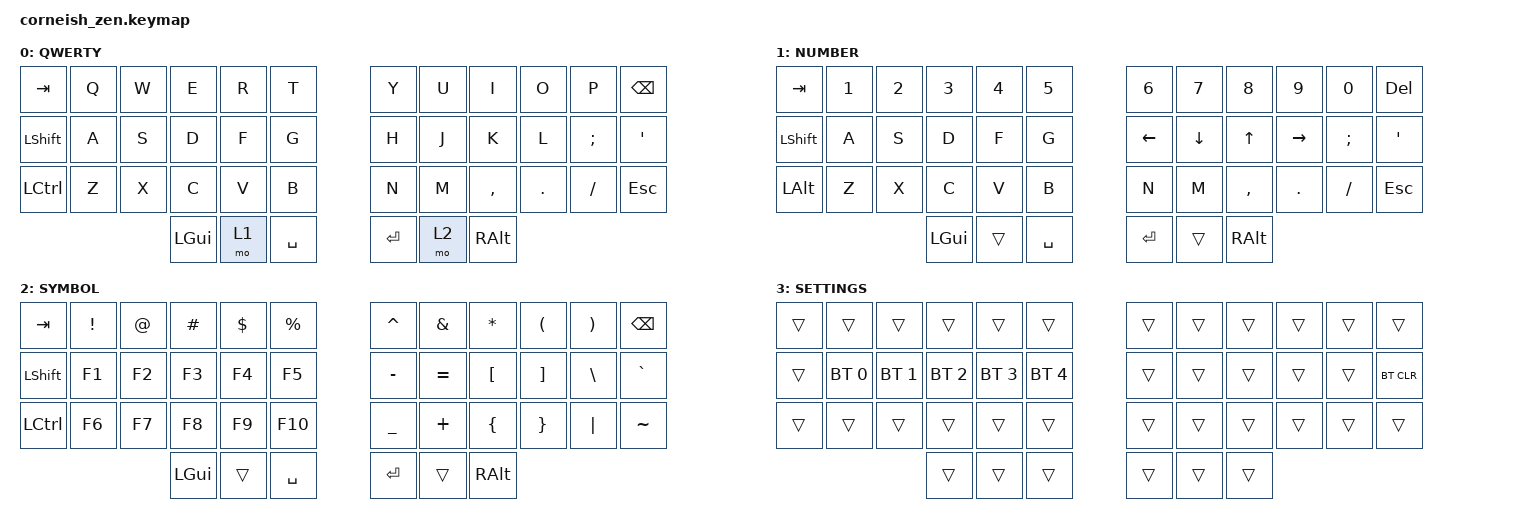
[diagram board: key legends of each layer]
#include <behaviors.dtsi>
#include <dt-bindings/zmk/keys.h>
#include <dt-bindings/zmk/bt.h>

/ {
  chosen {
    zmk,matrix_transform = &default_transform;
    //zmk,matrix_transform = &five_column_transform;
  };
};

/ {
    conditional_layers {
        compatible = "zmk,conditional-layers";
        tri_layer {
            if-layers = <1 2>;
            then-layer = <3>;
        };
    };
};

/ {
        keymap {
                compatible = "zmk,keymap";

                default_layer {
                        label = "QWERTY";
// -----------------------------------------------------------------------------------------
// |  TAB |  Q  |  W  |  E  |  R  |  T  |   |  Y  |  U   |  I  |  O  |  P  | BKSP |
// | SHFT |  A  |  S  |  D  |  F  |  G  |   |  H  |  J   |  K  |  L  |  ;  |  '   |
// | CTRL |  Z  |  X  |  C  |  V  |  B  |   |  N  |  M   |  ,  |  .  |  /  | ESC  |
//                    | GUI | LWR | SPC |   | ENT | RSE  | ALT |
                        bindings = <
   &kp TAB   &kp Q &kp W &kp E &kp R &kp T   &kp Y &kp U  &kp I     &kp O   &kp P    &kp BSPC
   &kp LSHFT &kp A &kp S &kp D &kp F &kp G   &kp H &kp J  &kp K     &kp L   &kp SEMI &kp SQT
   &kp LCTRL &kp Z &kp X &kp C &kp V &kp B   &kp N &kp M  &kp COMMA &kp DOT &kp FSLH &kp ESC
                  &kp LGUI &mo 1 &kp SPACE   &kp RET &mo 2 &kp RALT
                        >;
                };
                lower_layer {
                        label = "NUMBER";
// -----------------------------------------------------------------------------------------
// |  TAB |  1  |  2  |  3  |  4  |  5  |   |  6  |  7  |  8  |  9  |  0  | DEL  |
// | SHFT |  A  |  S  |  D  |  F  |  G  |   | LFT | DWN |  UP | RGT |  ;  |  '   |
// | LALT |  Z  |  X  |  C  |  V  |  B  |   |  N  |  M  |  ,  |  .  |  /  | ESC  |
//                    | GUI |     | SPC |   | ENT |     | ALT |
                        bindings = <
   &kp TAB    &kp N1       &kp N2       &kp N3       &kp N4       &kp N5         &kp N6   &kp N7   &kp N8    &kp N9    &kp N0   &kp DEL
   &kp LSHFT  &kp A        &kp S        &kp D        &kp F        &kp G          &kp LEFT &kp DOWN &kp UP    &kp RIGHT &kp SEMI &kp SQT
   &kp LALT   &kp Z        &kp X        &kp C        &kp V        &kp B          &kp N    &kp M    &kp COMMA &kp DOT   &kp FSLH &kp ESC
                          	            &kp LGUI     &trans       &kp SPACE      &kp RET  &trans   &kp RALT
                        >;
                };

                raise_layer {
                        label = "SYMBOL";
// -----------------------------------------------------------------------------------------
// |  TAB |  !  |  @  |  #  |  $  |  %  |   |  ^  |  &  |  *  |  (  |  )  | BKSP |
// | SHFT |  F1 |  F2 |  F3 |  F4 |  F5 |   |  -  |  =  |  [  |  ]  |  \  |  `   |
// | CTRL |  F6 |  F7 |  F8 |  F9 |  F10|   |  _  |  +  |  {  |  }  | "|" |  ~   |
//                    | GUI |     | SPC |   | ENT |     | ALT |
                        bindings = <
   &kp  TAB  &kp EXCL &kp AT &kp HASH &kp DLLR &kp PRCNT   &kp CARET &kp AMPS  &kp ASTRK  &kp LPAR &kp RPAR &kp BSPC
   &kp LSHFT &kp F1   &kp F2 &kp F3   &kp F4   &kp F5      &kp MINUS &kp EQUAL &kp LBKT   &kp RBKT &kp BSLH &kp GRAVE
   &kp LCTRL &kp F6   &kp F7 &kp F8   &kp F9   &kp F10     &kp UNDER &kp PLUS  &kp LBRC   &kp RBRC &kp PIPE &kp TILDE
                    	     &kp LGUI   &trans   &kp SPACE   &kp RET   &trans    &kp RALT
                        >;
                };

                settings_layer {
                        label = "SETTINGS";
// -----------------------------------------------------------------------------------------
// |      |     |     |     |     |     |   |     |     |     |     |     |      |
// |      | BT1 | BT2 | BT3 | BT4 | BT5 |   |     |     |     |     |     | BTCLR|
// |      |     |     |     |     |     |   |     |     |     |     |     |      |
//                    |     |     |     |   |     |     |     |
                        bindings = <
   &trans     &trans       &trans       &trans       &trans       &trans         &trans   &trans   &trans &trans    &trans &trans
   &trans     &bt BT_SEL 0 &bt BT_SEL 1 &bt BT_SEL 2 &bt BT_SEL 3 &bt BT_SEL 4   &trans   &trans   &trans &trans    &trans &bt BT_CLR
   &trans     &trans       &trans       &trans       &trans       &trans         &trans   &trans   &trans &trans    &trans &trans
                          	            &trans       &trans       &trans         &trans   &trans   &trans
                        >;
                };
        };
};
